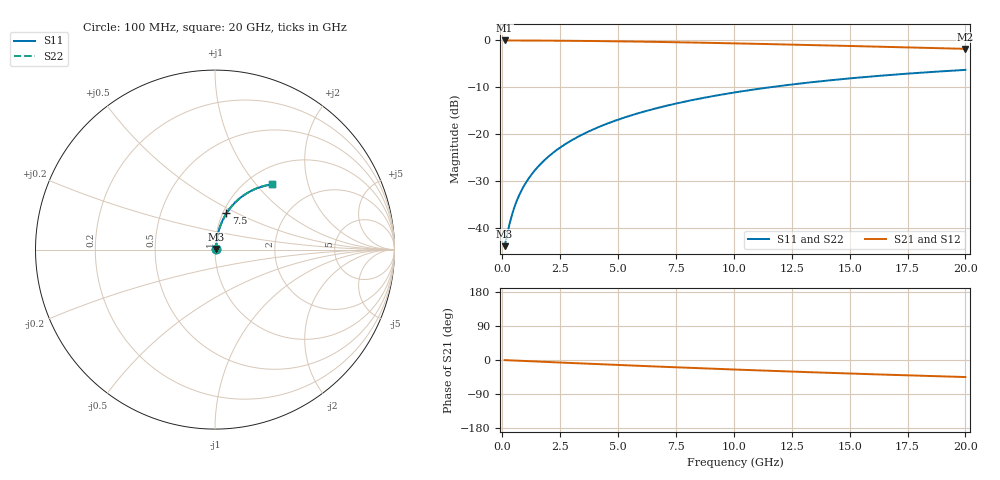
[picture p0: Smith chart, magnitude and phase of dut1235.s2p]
! Touchstone file exported from HFSS 2024.1.0
!  File:  C:/UserFiles/LocalFiles/RDL_TSV_Batchsim/temp_RDL_bottom_1235_1780244731.aedt
!  Generated:  12:28:22 AM Jun  1, 2026
!  Design:  RDL_bottom
!  Project:  temp_RDL_bottom_1235_1780244731
!  Setup:  Setup1
!  Solution:  Sweep
! Variables:
!  dtsv = 10.80580581um
!  hbump = 3um
!  htsv = 70.66um
!  ldown = 584.75um
!  lrdl = 100um
!  p = 40
!  p1 = 48.88um
!  rhole = 1um
!  t = 450um
!  tdown = 2.65um
!  trdl = 3.915915916um
!  wdown = 14.06um
!  wrdl = 20um
# GHz S MA R 50.000000
! Terminal data exported
! Port[1] = RDL1_T1
! Port[2] = RDL1_T2
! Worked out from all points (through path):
!   200 points, 100 MHz to 20 GHz, reference 50 ohm
!   highest |S21| = -0.05 dB at 100 MHz (marker M1); lowest = -1.8 dB at 20 GHz (marker M2)
!   group delay of S21, straight-line fit = 6.25 ps
!   lowest |S11| = -43.8 dB at 100 MHz (marker M3), VSWR 1.01, Z = 50.6 + j0.304 ohm
!   |S11| at or under -10 dB: start of sweep to 11.59 GHz
!   |S22| runs from -43.8 to -6.3 dB; largest |S21 - S12| = 3.8e-15
!   S11 on the Smith chart (normalised r, x): 100 MHz: 1.01, +0.01; 7.5 GHz: 1.04, +0.44; 20 GHz: 1.29, +1.22
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0.1  0.006421 27.9  0.9943 -0.3  0.9943 -0.3  0.006421 27.9
! Gamma 0 0 0 0
! Port Impedance 50 0 50 0
0.3  0.01073 56.6  0.9941 -0.8  0.9941 -0.8  0.01073 56.6
0.4  0.01335 62.8  0.9939 -1.1  0.9939 -1.1  0.01335 62.8
0.5  0.01606 66.9  0.9937 -1.4  0.9937 -1.4  0.01606 66.9
0.6  0.01881 69.7  0.9935 -1.6  0.9935 -1.6  0.01881 69.7
0.7  0.02157 71.8  0.9933 -1.9  0.9933 -1.9  0.02157 71.8
0.9  0.02711 74.5  0.9929 -2.4  0.9929 -2.4  0.02711 74.5
1.2  0.03547 76.9  0.9922 -3.2  0.9922 -3.2  0.03547 76.9
1.4  0.04106 77.9  0.9917 -3.8  0.9917 -3.8  0.04106 77.9
1.7  0.04948 78.8  0.9909 -4.6  0.9909 -4.6  0.04948 78.8
2.2  0.06357 79.4  0.9892 -5.9  0.9892 -5.9  0.06357 79.4
2.8  0.08053 79.5  0.9867 -7.4  0.9867 -7.4  0.08053 79.5
3.5  0.1003 79.0  0.9832 -9.3  0.9832 -9.3  0.1003 79.0
4.2  0.1201 78.1  0.9791 -11.1  0.9791 -11.1  0.1201 78.1
5  0.1427 77.0  0.9736 -13.1  0.9736 -13.1  0.1427 77.0
5.9  0.1678 75.5  0.9666 -15.4  0.9666 -15.4  0.1678 75.5
6.8  0.1927 73.8  0.9588 -17.6  0.9588 -17.6  0.1927 73.8
7.5  0.2117 72.5  0.9523 -19.3  0.9523 -19.3  0.2117 72.5
10.1  0.2797 67.3  0.9254 -25.3  0.9254 -25.3  0.2797 67.3
13.4  0.358 60.8  0.8875 -32.4  0.8875 -32.4  0.358 60.8
16.7  0.4259 54.5  0.8482 -39.0  0.8482 -39.0  0.426 54.5
20  0.4834 48.7  0.8096 -45.0  0.8096 -45.0  0.4835 48.7
